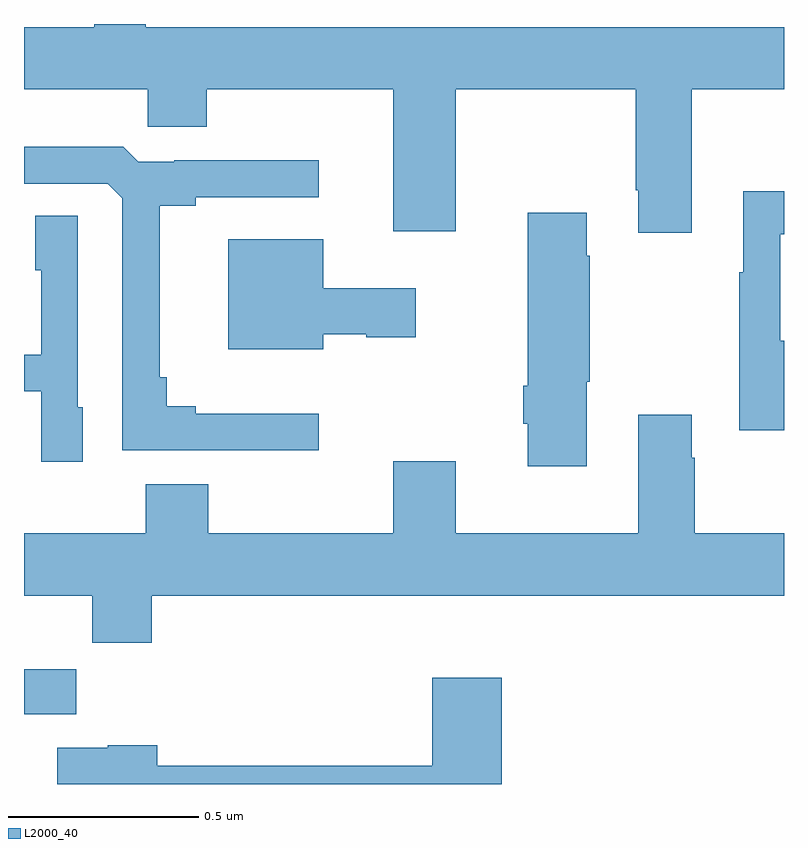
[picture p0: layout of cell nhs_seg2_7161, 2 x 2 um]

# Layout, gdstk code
import gdstk
lib = gdstk.Library(unit=1e-6, precision=1e-09)
def R(c, l, rs):  # rectangles x0, y0, x1, y1
    for r in rs: c.add(gdstk.rectangle(r[:2], r[2:], *l))
def P(c, l, *ps):  # polygons
    for p in ps: c.add(gdstk.Polygon(p, *l))
L2000_40 = (2000, 40)

nhs_seg2_7161 = lib.new_cell('nhs_seg2_7161')
R(nhs_seg2_7161, L2000_40, [(200,653.984,200.138,654.102)])
P(nhs_seg2_7161, L2000_40, [(200.321,655.8),(200.185,655.8),(200.185,655.792),(200,655.792),(200,655.628),(200.326,655.628),(200.326,655.53),(200.481,655.53),(200.481,655.628),(200.972,655.628),(200.972,655.254),(201.136,655.254),(201.136,655.628),(201.61,655.628),(201.61,655.363),(201.617,655.363),(201.617,655.251),(201.757,655.251),(201.757,655.628),(202,655.628),(202,655.792),(200.321,655.792)],
  [(200.776,654.775),(200.452,654.775),(200.452,654.794),(200.375,654.794),(200.375,654.871),(200.357,654.871),(200.357,655.322),(200.452,655.322),(200.452,655.344),(200.776,655.344),(200.776,655.442),(200.395,655.442),(200.395,655.437),(200.301,655.437),(200.261,655.477),(200,655.477),(200,655.38),(200.22,655.38),(200.259,655.341),(200.259,654.678),(200.776,654.678)],
  [(202,654.967),(201.99,654.967),(201.99,655.247),(202,655.247),(202,655.36),(201.893,655.36),(201.893,655.147),(201.882,655.147),(201.882,654.731),(202,654.731)],
  [(201.481,654.859),(201.489,654.859),(201.489,655.19),(201.481,655.19),(201.481,655.303),(201.326,655.303),(201.326,654.848),(201.314,654.848),(201.314,654.748),(201.326,654.748),(201.326,654.636),(201.481,654.636)],
  [(200.155,654.792),(200.142,654.792),(200.142,655.295),(200.03,655.295),(200.03,655.152),(200.046,655.152),(200.046,654.93),(200,654.93),(200,654.833),(200.046,654.833),(200.046,654.648),(200.155,654.648)],
  [(200.788,654.983),(200.901,654.983),(200.901,654.976),(201.031,654.976),(201.031,655.105),(200.788,655.105),(200.788,655.234),(200.537,655.234),(200.537,654.944),(200.788,654.944)],
  [(200.336,654.296),(202,654.296),(202,654.46),(201.765,654.46),(201.765,654.659),(201.757,654.659),(201.757,654.772),(201.617,654.772),(201.617,654.46),(201.136,654.46),(201.136,654.649),(200.972,654.649),(200.972,654.46),(200.485,654.46),(200.485,654.589),(200.321,654.589),(200.321,654.46),(200,654.46),(200,654.296),(200.179,654.296),(200.179,654.172),(200.336,654.172)],
  [(201.257,654.079),(201.074,654.079),(201.074,653.848),(200.351,653.848),(200.351,653.902),(200.22,653.902),(200.22,653.896),(200.087,653.896),(200.087,653.8),(201.257,653.8)])

lib.write_gds('nhs_seg2_7161.gds')
